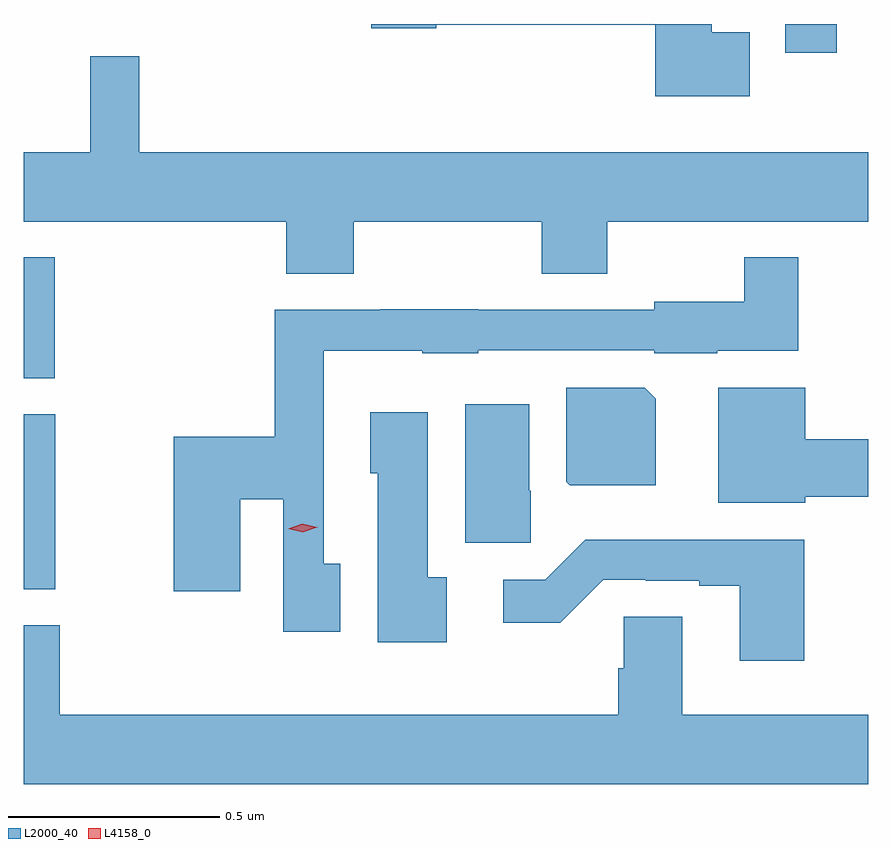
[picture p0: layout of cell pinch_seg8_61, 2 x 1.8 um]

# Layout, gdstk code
import gdstk
lib = gdstk.Library(unit=1e-6, precision=1e-09)
def R(c, l, rs):  # rectangles x0, y0, x1, y1
    for r in rs: c.add(gdstk.rectangle(r[:2], r[2:], *l))
def P(c, l, *ps):  # polygons
    for p in ps: c.add(gdstk.Polygon(p, *l))
L2000_40 = (2000, 40)
L4158_0 = (4158, 0)

pinch_seg8_61 = lib.new_cell('pinch_seg8_61')
R(pinch_seg8_61, L2000_40, [(913.327,1100.977,913.402,1101.392), (913.327,1101.477,913.4,1101.763), (915.131,1102.248,915.253,1102.316)])
P(pinch_seg8_61, L2000_40, [(915.046,1102.297),(914.956,1102.297),(914.956,1102.316),(914.15,1102.316),(914.15,1102.306),(914.304,1102.306),(914.304,1102.314),(914.822,1102.314),(914.822,1102.145),(915.046,1102.145)],
  [(914.109,1101.848),(914.554,1101.848),(914.554,1101.724),(914.709,1101.724),(914.709,1101.848),(915.327,1101.848),(915.327,1102.012),(913.601,1102.012),(913.601,1102.24),(913.484,1102.24),(913.484,1102.012),(913.327,1102.012),(913.327,1101.848),(913.949,1101.848),(913.949,1101.724),(914.109,1101.724)],
  [(914.077,1101.038),(914.037,1101.038),(914.037,1101.542),(914.271,1101.542),(914.271,1101.536),(914.403,1101.536),(914.403,1101.543),(914.82,1101.543),(914.82,1101.536),(914.97,1101.536),(914.97,1101.542),(915.161,1101.542),(915.161,1101.763),(915.033,1101.763),(915.033,1101.658),(914.82,1101.658),(914.82,1101.639),(914.403,1101.639),(914.403,1101.641),(914.171,1101.641),(914.171,1101.639),(913.921,1101.639),(913.921,1101.338),(913.682,1101.338),(913.682,1100.973),(913.84,1100.973),(913.84,1101.191),(913.941,1101.191),(913.941,1100.877),(914.077,1100.877)],
  [(915.178,1101.196),(915.327,1101.196),(915.327,1101.332),(915.178,1101.332),(915.178,1101.454),(914.972,1101.454),(914.972,1101.182),(915.178,1101.182)],
  [(914.824,1101.428),(914.798,1101.454),(914.612,1101.454),(914.612,1101.232),(914.62,1101.224),(914.824,1101.224)],
  [(914.528,1101.21),(914.524,1101.21),(914.524,1101.415),(914.372,1101.415),(914.372,1101.087),(914.528,1101.087)],
  [(914.329,1101.006),(914.284,1101.006),(914.284,1101.397),(914.147,1101.397),(914.147,1101.252),(914.165,1101.252),(914.165,1100.852),(914.329,1100.852)],
  [(915.176,1101.095),(914.657,1101.095),(914.562,1101),(914.463,1101),(914.463,1100.898),(914.598,1100.898),(914.7,1101),(914.8,1101),(914.8,1100.997),(914.927,1100.997),(914.927,1100.985),(915.023,1100.985),(915.023,1100.808),(915.176,1100.808)],
  [(915.327,1100.68),(914.887,1100.68),(914.887,1100.912),(914.748,1100.912),(914.748,1100.79),(914.735,1100.79),(914.735,1100.68),(913.412,1100.68),(913.412,1100.892),(913.327,1100.892),(913.327,1100.516),(915.327,1100.516)])
P(pinch_seg8_61, L4158_0, [(913.988,1101.112),(913.953,1101.12),(913.953,1101.121),(913.953,1101.121),(913.987,1101.132),(914.022,1101.124),(914.023,1101.124),(914.022,1101.124)])

lib.write_gds('pinch_seg8_61.gds')
